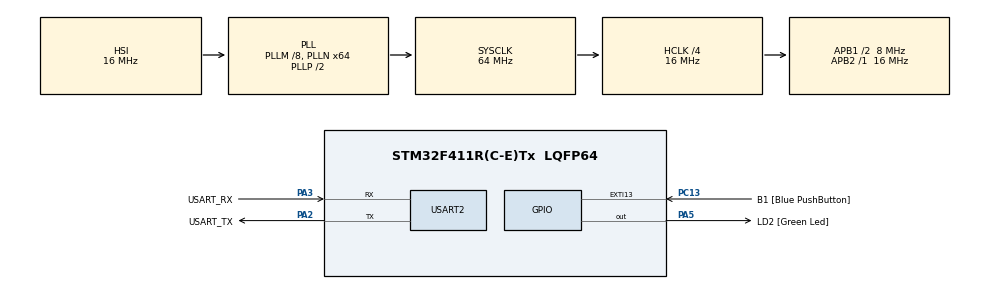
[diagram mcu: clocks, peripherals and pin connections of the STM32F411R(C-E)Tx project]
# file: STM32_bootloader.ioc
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Mcu.Family=STM32F4
Mcu.Name=STM32F411R(C-E)Tx
Mcu.Package=LQFP64
NVIC.PriorityGroup=NVIC_PRIORITYGROUP_0
PA13.GPIO_Label=TMS
PA13.Mode=Serial_Wire
PA13.Signal=SYS_JTMS-SWDIO
PA14.GPIO_Label=TCK
PA14.Mode=Serial_Wire
PA14.Signal=SYS_JTCK-SWCLK
PA2.GPIO_Label=USART_TX
PA2.Mode=Asynchronous
PA2.Signal=USART2_TX
PA3.GPIO_Label=USART_RX
PA3.Mode=Asynchronous
PA3.Signal=USART2_RX
PA5.GPIO_Label=LD2 [Green Led]
PA5.Signal=GPIO_Output
PB3.GPIO_Label=SWO
PB3.Signal=SYS_JTDO-SWO
PC13-ANTI_TAMP.GPIO_Label=B1 [Blue PushButton]
PC13-ANTI_TAMP.GPIO_ModeDefaultEXTI=GPIO_MODE_IT_FALLING
PC13-ANTI_TAMP.Signal=GPXTI13
PC14-OSC32_IN.Mode=LSE-External-Oscillator
PC14-OSC32_IN.Signal=RCC_OSC32_IN
PC15-OSC32_OUT.Mode=LSE-External-Oscillator
PC15-OSC32_OUT.Signal=RCC_OSC32_OUT
PH0\ -\ OSC_IN.Mode=HSE-External-Clock-Source
PH0\ -\ OSC_IN.Signal=RCC_OSC_IN
PH1\ -\ OSC_OUT.Mode=HSE-External-Clock-Source
PH1\ -\ OSC_OUT.Signal=RCC_OSC_OUT
ProjectManager.HeapSize=0x200
ProjectManager.StackSize=0x400
ProjectManager.TargetToolchain=STM32CubeIDE
RCC.48MHZClocksFreq_Value=32000000
RCC.AHBCLKDivider=RCC_SYSCLK_DIV4
RCC.AHBFreq_Value=16000000
RCC.APB1CLKDivider=RCC_HCLK_DIV2
RCC.APB1Freq_Value=8000000
RCC.APB1TimFreq_Value=16000000
RCC.APB2Freq_Value=16000000
RCC.APB2TimFreq_Value=16000000
RCC.CortexFreq_Value=16000000
RCC.FLatency-AdvancedSettings=FLASH_LATENCY_0
RCC.HCLKFreq_Value=16000000
RCC.HSE_VALUE=8000000
RCC.HSI_VALUE=16000000
RCC.PLLM=8
RCC.PLLN=64
RCC.SYSCLKFreq_VALUE=64000000
RCC.SYSCLKSource=RCC_SYSCLKSOURCE_PLLCLK
RCC.VCOOutputFreq_Value=128000000
USART2.VirtualMode=VM_ASYNC
VP_CRC_VS_CRC.Mode=CRC_Activate
board=NUCLEO-F411RE

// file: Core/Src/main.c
/* USER CODE BEGIN Header */
/**
  ******************************************************************************
  * @file           : main.c
  * @brief          : Main program body
  ******************************************************************************
  * @attention
  *
  * Copyright (c) 2024 STMicroelectronics.
  * All rights reserved.
  *
  * This software is licensed under terms that can be found in the LICENSE file
  * in the root directory of this software component.
  * If no LICENSE file comes with this software, it is provided AS-IS.
  *
  ******************************************************************************
  */
/* USER CODE END Header */
#include "main.h"
#include <stdlib.h>
#include <string.h>
#include "TI_aes_128.h"

CRC_HandleTypeDef hcrc;

UART_HandleTypeDef huart2;

void SystemClock_Config(void);
static void MX_GPIO_Init(void);
static void MX_USART2_UART_Init(void);
static void MX_CRC_Init(void);
/* USER CODE BEGIN PFP */
#define ACK        	0x79
#define NACK      	0x1F
#define CMD_ERASE 	0x43
#define CMD_GETID 	0x02
#define CMD_WRITE   0x2b
#define PROGRAMING_DONE 0x53
uint8_t AES_KEY[] = {0x40,0x23,0x3C,0x4D,0x36,0x39,0x57,0x74,0x79,0x43,0x78,0x53,0x51,0x39,0x12,0x19};
uint8_t CMDBuffor[20];

typedef struct {
	uint32_t JUMP_ADDR;
}
App_Info;
__attribute__((section(".programInfo"))) App_Info ApplicationInfo = {0x8004000};
App_Info* pApplicationInfo =  &ApplicationInfo;

void getID( const uint8_t* pData);
void eraseFlash( uint8_t* pData);
void programFlash( uint8_t* pData);

void bootApp(void)
{
	uint32_t jumpaddr = (pApplicationInfo->JUMP_ADDR);

	if (jumpaddr!=0xFFFFFFFF)
	{
		uint32_t msp = *(uint32_t*)(pApplicationInfo->JUMP_ADDR);
		//MX_GPIO_DeInit();
		SysTick->CTRL - 0x0;
		HAL_DeInit();
		RCC->CIR = 0x00000000;
		__set_MSP(msp);
		__DMB();
		SCB->VTOR = jumpaddr;
		__DSB();

		void(*rest_handler)(void) = (void*)(*(uint32_t*)(jumpaddr+4));
		rest_handler();

	}

}

void lockFlashForBootloader()
{
	// get current config
	FLASH_OBProgramInitTypeDef optionBytesFlash  ={0};
	HAL_FLASHEx_OBGetConfig(&optionBytesFlash);

	if((optionBytesFlash.WRPSector & OB_WRP_SECTOR_0) == OB_WRP_SECTOR_0)
	{
		HAL_FLASH_Unlock();
		HAL_FLASH_OB_Unlock();
		optionBytesFlash.OptionType = OPTIONBYTE_WRP;
		optionBytesFlash.WRPSector = OB_WRP_SECTOR_0;
		optionBytesFlash.WRPState = OB_WRPSTATE_ENABLE;
		HAL_FLASHEx_OBProgram(&optionBytesFlash);
		HAL_FLASH_OB_Launch();
		HAL_FLASH_OB_Lock();
		HAL_FLASH_Lock();

	}

}

void checkIfUpIsThere(void)
{
	uint32_t jumpaddr = (pApplicationInfo->JUMP_ADDR);

	if (jumpaddr!=0xFFFFFFFF)
		bootApp();
	else
	{
		while(1)
		{
			HAL_GPIO_WritePin(LD2_GPIO_Port, LD2_Pin,SET);
			HAL_Delay(500);
			HAL_GPIO_WritePin(LD2_GPIO_Port, LD2_Pin,RESET);
			HAL_Delay(250);
			HAL_GPIO_WritePin(LD2_GPIO_Port, LD2_Pin,SET);
			HAL_Delay(500);
			HAL_GPIO_WritePin(LD2_GPIO_Port, LD2_Pin,RESET);
			HAL_Delay(1500);
		}
	}
}

/* USER CODE END PFP */

int main(void)
{

  /* USER CODE BEGIN 1 */
	 HAL_Init();
	 SystemClock_Config();
	  MX_GPIO_Init();
	  MX_USART2_UART_Init();
	  lockFlashForBootloader();
  /* USER CODE END 1 */

  /* MCU Configuration--------------------------------------------------------*/

	/* Reset of all peripherals, Initializes the Flash interface and the Systick. */
  if(HAL_GPIO_ReadPin(B1_GPIO_Port, B1_Pin)==GPIO_PIN_RESET)
  {

  /* Initialize all configured peripherals */

  MX_CRC_Init();
  /* USER CODE BEGIN 2 */
  uint32_t delay = 1000;
  uint32_t tick= HAL_GetTick();

  /* USER CODE END 2 */

  /* Infinite loop */
  /* USER CODE BEGIN WHILE */
  while (1)
  {

	  if((HAL_GetTick()-tick)>delay)
	  {
		HAL_GPIO_TogglePin(LD2_GPIO_Port, LD2_Pin);
		tick= HAL_GetTick();
	  }
	  HAL_UART_Receive(&huart2, CMDBuffor, 20, 20);

	  switch (CMDBuffor[0]){
	  case CMD_GETID:
		  getID(CMDBuffor);
		  break;
	  case CMD_ERASE:
		  eraseFlash(CMDBuffor);
		  break;
	  case CMD_WRITE:
		  programFlash(CMDBuffor);
		  break;
	  case PROGRAMING_DONE:
		  bootApp();
		  break;

	  }

    /* USER CODE END WHILE */

    /* USER CODE BEGIN 3 */
  	}
  }
  else{
	  checkIfUpIsThere();
  }

  /* USER CODE END 3 */
}

void SystemClock_Config(void)
{
	{
	  RCC_OscInitTypeDef RCC_OscInitStruct = {0};
	  RCC_ClkInitTypeDef RCC_ClkInitStruct = {0};
  /** Configure the main internal regulator output voltage
  */
  __HAL_RCC_PWR_CLK_ENABLE();
  __HAL_PWR_VOLTAGESCALING_CONFIG(PWR_REGULATOR_VOLTAGE_SCALE1);

  /** Initializes the RCC Oscillators according to the specified parameters
  * in the RCC_OscInitTypeDef structure.
  */
  RCC_OscInitStruct.OscillatorType = RCC_OSCILLATORTYPE_HSI;
  RCC_OscInitStruct.HSIState = RCC_HSI_ON;
  RCC_OscInitStruct.HSICalibrationValue = RCC_HSICALIBRATION_DEFAULT;
  RCC_OscInitStruct.PLL.PLLState = RCC_PLL_ON;
  RCC_OscInitStruct.PLL.PLLSource = RCC_PLLSOURCE_HSI;
  RCC_OscInitStruct.PLL.PLLM = 8;
  RCC_OscInitStruct.PLL.PLLN = 64;
  RCC_OscInitStruct.PLL.PLLP = RCC_PLLP_DIV2;
  RCC_OscInitStruct.PLL.PLLQ = 4;
  if (HAL_RCC_OscConfig(&RCC_OscInitStruct) != HAL_OK)
  {
    Error_Handler();
  }

  /** Initializes the CPU, AHB and APB buses clocks
  */
  RCC_ClkInitStruct.ClockType = RCC_CLOCKTYPE_HCLK|RCC_CLOCKTYPE_SYSCLK
                              |RCC_CLOCKTYPE_PCLK1|RCC_CLOCKTYPE_PCLK2;
  RCC_ClkInitStruct.SYSCLKSource = RCC_SYSCLKSOURCE_PLLCLK;
  RCC_ClkInitStruct.AHBCLKDivider = RCC_SYSCLK_DIV4;
  RCC_ClkInitStruct.APB1CLKDivider = RCC_HCLK_DIV2;
  RCC_ClkInitStruct.APB2CLKDivider = RCC_HCLK_DIV1;

  if (HAL_RCC_ClockConfig(&RCC_ClkInitStruct, FLASH_LATENCY_0) != HAL_OK)
  {
    Error_Handler();
  }
}
}

static void MX_CRC_Init(void)
{

  hcrc.Instance = CRC;
  if (HAL_CRC_Init(&hcrc) != HAL_OK)
  {
    Error_Handler();
  }

}

static void MX_USART2_UART_Init(void)
{

  huart2.Instance = USART2;
  huart2.Init.BaudRate = 115200;
  huart2.Init.WordLength = UART_WORDLENGTH_8B;
  huart2.Init.StopBits = UART_STOPBITS_1;
  huart2.Init.Parity = UART_PARITY_NONE;
  huart2.Init.Mode = UART_MODE_TX_RX;
  huart2.Init.HwFlowCtl = UART_HWCONTROL_NONE;
  huart2.Init.OverSampling = UART_OVERSAMPLING_16;
  if (HAL_UART_Init(&huart2) != HAL_OK)
  {
    Error_Handler();
  }

}

static void MX_GPIO_Init(void)
{
  GPIO_InitTypeDef GPIO_InitStruct = {0};

  /* GPIO Ports Clock Enable */
  __HAL_RCC_GPIOC_CLK_ENABLE();
  __HAL_RCC_GPIOH_CLK_ENABLE();
  __HAL_RCC_GPIOA_CLK_ENABLE();
  __HAL_RCC_GPIOB_CLK_ENABLE();

  /*Configure GPIO pin Output Level */
  HAL_GPIO_WritePin(LD2_GPIO_Port, LD2_Pin, GPIO_PIN_RESET);

  /*Configure GPIO pin : B1_Pin */
  GPIO_InitStruct.Pin = B1_Pin;
  GPIO_InitStruct.Mode = GPIO_MODE_IT_FALLING;
  GPIO_InitStruct.Pull = GPIO_NOPULL;
  HAL_GPIO_Init(B1_GPIO_Port, &GPIO_InitStruct);

  /*Configure GPIO pin : LD2_Pin */
  GPIO_InitStruct.Pin = LD2_Pin;
  GPIO_InitStruct.Mode = GPIO_MODE_OUTPUT_PP;
  GPIO_InitStruct.Pull = GPIO_NOPULL;
  GPIO_InitStruct.Speed = GPIO_SPEED_FREQ_LOW;
  HAL_GPIO_Init(LD2_GPIO_Port, &GPIO_InitStruct);

}

/* USER CODE BEGIN 4 */
void getID( const uint8_t* pData){

	uint32_t crc = 0 ;
	uint32_t cmd = pData[0];
	memcpy(&crc,pData+1,sizeof(uint32_t));

	if (crc == HAL_CRC_Calculate(&hcrc,&cmd,1))
	{

		//Send ACK
		CMDBuffor[0] = ACK;
		HAL_UART_Transmit(&huart2,CMDBuffor,1, HAL_MAX_DELAY);
		uint16_t devID = (uint16_t)(DBGMCU->IDCODE&0xFFF);
		HAL_UART_Transmit(&huart2,(uint8_t*)&devID, 2, HAL_MAX_DELAY);

	}
	else{
		// send NACK
		CMDBuffor[0] = NACK;
		HAL_UART_Transmit(&huart2,CMDBuffor,1, HAL_MAX_DELAY);
	}

}

void eraseFlash( uint8_t* pData)
{
	/*
	 *
	* --------------------------------------------
	* | CMD_ID | number of sectors     |  CRC32  |
	* | 1 byte |     to erase          | 4 bytes |
	* |--------|-----------------------|---------|
	* |  0x43  |   N r OFF for all     |   CRC   |
	* --------------------------------------------
	 *
	 *
	 *
	 */

	uint32_t crc = 0 ;
	uint32_t cmd[2] = {pData[0],pData[1]};
	uint32_t badBlock = 0;

	memcpy(&crc,pData+2,sizeof(uint32_t));

	if (crc == HAL_CRC_Calculate(&hcrc,cmd,2))
	{
		FLASH_EraseInitTypeDef flash  ={0};
		flash.Banks = FLASH_BANK_1;
		flash.TypeErase = FLASH_TYPEERASE_SECTORS;
		flash.VoltageRange = FLASH_VOLTAGE_RANGE_3;
		flash.Sector = FLASH_SECTOR_1;
		flash.NbSectors = cmd[1] == 0xFF ? FLASH_SECTOR_TOTAL-1 : cmd[1];
		HAL_FLASH_Unlock();
		HAL_FLASHEx_Erase(&flash, &badBlock);
		HAL_FLASH_Lock();

		if (badBlock == 0xFFFFFFFF)
		{
			//Send ACK
			CMDBuffor[0] = ACK;
			HAL_UART_Transmit(&huart2,CMDBuffor,1, HAL_MAX_DELAY);

		}
		else{
			// send NACK
			CMDBuffor[0] = NACK;
			HAL_UART_Transmit(&huart2,CMDBuffor,1, HAL_MAX_DELAY);
		}

	}
}
void programFlash( uint8_t* pData)
{
	/*
	 *
	* A write command has the following structure:
	*
	* ----------------------------------------
	* | CMD_ID | starting address  |  CRC32  |
	* | 1 byte |     4 byte        | 4 bytes |
	* |--------|-------------------|---------|
	* |  0x2b  |    0x08004000     |   CRC   |
	* ----------------------------------------
	*
	* The second message has the following structure
	*
	* ------------------------------
	* |    data bytes    |  CRC32  |
	* |      16 bytes    | 4 bytes |
	* |------------------|---------|
	* | BBBBBBBBBBBBBBBB |   CRC   |
	* ------------------------------
	 */
	static char firstEntry = 1;
	uint32_t crc = 0 ;
	uint32_t cmd[4] = {pData[0]};
	uint8_t data[20] = {0};
	memcpy(&crc,pData+5,sizeof(uint32_t));
	memcpy(&cmd[1],pData+1,sizeof(uint32_t));
	uint32_t sAddr = cmd[1];

	if (crc == HAL_CRC_Calculate(&hcrc,cmd,2))
	{

		//Send ACK
		CMDBuffor[0] = ACK;
		HAL_UART_Transmit(&huart2,CMDBuffor,1, HAL_MAX_DELAY);
		if(HAL_UART_Receive(&huart2, data, 20, 10)==HAL_TIMEOUT)
			return;
		memcpy(&crc,data+16,sizeof(uint32_t));
		memcpy(&cmd[0],data,4*(sizeof(uint32_t)));

		if (crc == HAL_CRC_Calculate(&hcrc,(uint32_t*)data,4))
		{
			HAL_FLASH_Unlock();
			if (firstEntry == 1)
			{

				HAL_FLASH_Program(FLASH_TYPEPROGRAM_WORD,(uint32_t)pApplicationInfo,sAddr);
				firstEntry=0;

			}

			aes_enc_dec((uint8_t*)data,AES_KEY,1);

			for (uint8_t i=0;i<16;i++)
			{

				HAL_FLASH_Program(FLASH_TYPEPROGRAM_BYTE, sAddr, data[i]);
				sAddr+=1;
			}
			HAL_FLASH_Lock();

		}
		//Send ACK
		CMDBuffor[0] = ACK;
		HAL_UART_Transmit(&huart2,CMDBuffor,1, HAL_MAX_DELAY);
	}
	else
	{
		// send NACK
		CMDBuffor[0] = NACK;
		HAL_UART_Transmit(&huart2,CMDBuffor,1, HAL_MAX_DELAY);
	}

}
int _write(int file, char *ptr, int len)
{
  (void)file;
  int DataIdx;

  for (DataIdx = 0; DataIdx < len; DataIdx++)
  {
	  //__io_putchar(*ptr++);
	  HAL_UART_Transmit(&huart2, (uint8_t*)ptr++, 1, 1000);
  }
  return len;
}
/* USER CODE END 4 */

void Error_Handler(void)
{
  __disable_irq();
  while (1)
  {
  }
}
